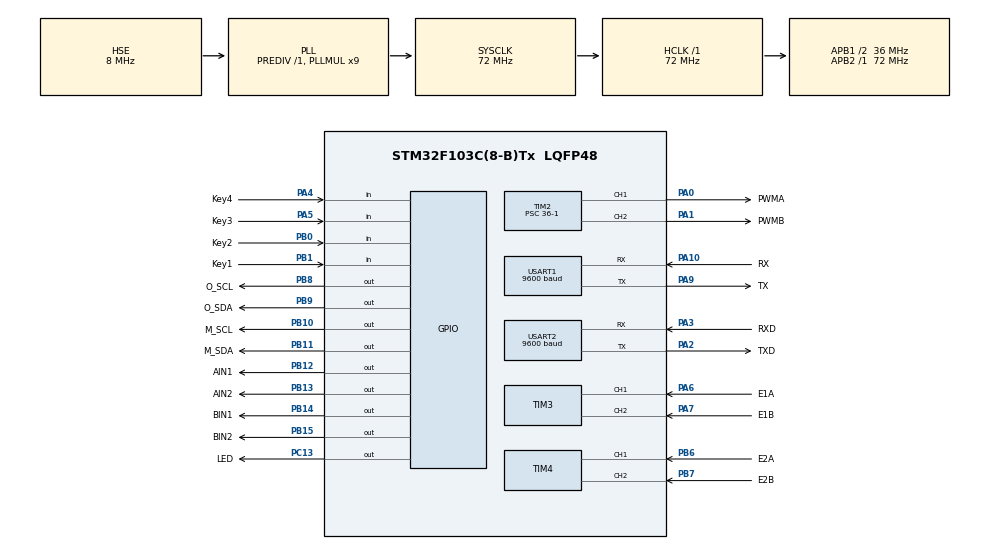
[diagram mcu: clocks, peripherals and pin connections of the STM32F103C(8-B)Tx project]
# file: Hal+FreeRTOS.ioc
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FREERTOS.Tasks01=defaultTask,24,128,StartDefaultTask,Default,NULL,Dynamic,NULL,NULL
FREERTOS.configTOTAL_HEAP_SIZE=8192
Mcu.Family=STM32F1
Mcu.Name=STM32F103C(8-B)Tx
Mcu.Package=LQFP48
NVIC.PriorityGroup=NVIC_PRIORITYGROUP_4
NVIC.TIM1_UP_IRQn=true\:5\:0\:false\:false\:true\:true\:true\:true\:true
NVIC.USART1_IRQn=true\:5\:0\:false\:false\:true\:true\:true\:true\:true
NVIC.USART2_IRQn=true\:5\:0\:false\:false\:true\:true\:true\:true\:true
PA0-WKUP.GPIO_Label=PWMA
PA0-WKUP.GPIO_ModeDefaultPP=GPIO_MODE_AF_PP
PA0-WKUP.GPIO_Speed=GPIO_SPEED_FREQ_HIGH
PA0-WKUP.Signal=S_TIM2_CH1_ETR
PA1.GPIO_Label=PWMB
PA1.GPIO_ModeDefaultPP=GPIO_MODE_AF_PP
PA1.GPIO_Speed=GPIO_SPEED_FREQ_HIGH
PA1.Signal=S_TIM2_CH2
PA10.GPIO_Label=RX
PA10.GPIO_PuPd=GPIO_PULLUP
PA10.Mode=Asynchronous
PA10.Signal=USART1_RX
PA13.Mode=Serial_Wire
PA13.Signal=SYS_JTMS-SWDIO
PA14.Mode=Serial_Wire
PA14.Signal=SYS_JTCK-SWCLK
PA2.GPIO_Label=TXD
PA2.Mode=Asynchronous
PA2.Signal=USART2_TX
PA3.GPIO_Label=RXD
PA3.GPIO_PuPd=GPIO_PULLUP
PA3.Mode=Asynchronous
PA3.Signal=USART2_RX
PA4.GPIO_Label=Key4
PA4.GPIO_Mode=GPIO_MODE_INPUT
PA4.GPIO_PuPd=GPIO_PULLUP
PA4.Signal=GPIO_Input
PA5.GPIO_Label=Key3
PA5.GPIO_Mode=GPIO_MODE_INPUT
PA5.GPIO_PuPd=GPIO_PULLUP
PA5.Signal=GPIO_Input
PA6.GPIO_Label=E1A
PA6.GPIO_PuPd=GPIO_PULLUP
PA6.Signal=S_TIM3_CH1
PA7.GPIO_Label=E1B
PA7.GPIO_PuPd=GPIO_PULLUP
PA7.Signal=S_TIM3_CH2
PA9.GPIO_Label=TX
PA9.Mode=Asynchronous
PA9.Signal=USART1_TX
PB0.GPIO_Label=Key2
PB0.GPIO_Mode=GPIO_MODE_INPUT
PB0.GPIO_PuPd=GPIO_PULLUP
PB0.Signal=GPIO_Input
PB1.GPIO_Label=Key1
PB1.GPIO_Mode=GPIO_MODE_INPUT
PB1.GPIO_PuPd=GPIO_PULLUP
PB1.Signal=GPIO_Input
PB10.GPIO_Label=M_SCL
PB10.GPIO_ModeDefaultOutputPP=GPIO_MODE_OUTPUT_OD
PB10.GPIO_PuPd=GPIO_PULLUP
PB10.PinState=GPIO_PIN_SET
PB10.Signal=GPIO_Output
PB11.GPIO_Label=M_SDA
PB11.GPIO_ModeDefaultOutputPP=GPIO_MODE_OUTPUT_OD
PB11.GPIO_PuPd=GPIO_PULLUP
PB11.PinState=GPIO_PIN_SET
PB11.Signal=GPIO_Output
PB12.GPIO_Label=AIN1
PB12.GPIO_ModeDefaultOutputPP=GPIO_MODE_OUTPUT_PP
PB12.GPIO_PuPd=GPIO_NOPULL
PB12.GPIO_Speed=GPIO_SPEED_FREQ_HIGH
PB12.PinState=GPIO_PIN_RESET
PB12.Signal=GPIO_Output
PB13.GPIO_Label=AIN2
PB13.GPIO_ModeDefaultOutputPP=GPIO_MODE_OUTPUT_PP
PB13.GPIO_PuPd=GPIO_NOPULL
PB13.GPIO_Speed=GPIO_SPEED_FREQ_HIGH
PB13.PinState=GPIO_PIN_RESET
PB13.Signal=GPIO_Output
PB14.GPIO_Label=BIN1
PB14.GPIO_ModeDefaultOutputPP=GPIO_MODE_OUTPUT_PP
PB14.GPIO_PuPd=GPIO_NOPULL
PB14.GPIO_Speed=GPIO_SPEED_FREQ_HIGH
PB14.PinState=GPIO_PIN_RESET
PB14.Signal=GPIO_Output
PB15.GPIO_Label=BIN2
PB15.GPIO_ModeDefaultOutputPP=GPIO_MODE_OUTPUT_PP
PB15.GPIO_PuPd=GPIO_NOPULL
PB15.GPIO_Speed=GPIO_SPEED_FREQ_HIGH
PB15.PinState=GPIO_PIN_RESET
PB15.Signal=GPIO_Output
PB6.GPIO_Label=E2A
PB6.GPIO_PuPd=GPIO_PULLUP
PB6.Signal=S_TIM4_CH1
PB7.GPIO_Label=E2B
PB7.GPIO_PuPd=GPIO_PULLUP
PB7.Signal=S_TIM4_CH2
PB8.GPIO_Label=O_SCL
PB8.GPIO_ModeDefaultOutputPP=GPIO_MODE_OUTPUT_OD
PB8.GPIO_PuPd=GPIO_PULLUP
PB8.PinState=GPIO_PIN_RESET
PB8.Signal=GPIO_Output
PB9.GPIO_Label=O_SDA
PB9.GPIO_ModeDefaultOutputPP=GPIO_MODE_OUTPUT_OD
PB9.GPIO_PuPd=GPIO_PULLUP
PB9.PinState=GPIO_PIN_RESET
PB9.Signal=GPIO_Output
PC13-TAMPER-RTC.GPIO_Label=LED
PC13-TAMPER-RTC.PinState=GPIO_PIN_SET
PC13-TAMPER-RTC.Signal=GPIO_Output
PD0-OSC_IN.Mode=HSE-External-Oscillator
PD0-OSC_IN.Signal=RCC_OSC_IN
PD1-OSC_OUT.Mode=HSE-External-Oscillator
PD1-OSC_OUT.Signal=RCC_OSC_OUT
ProjectManager.HeapSize=0x200
ProjectManager.StackSize=0x400
ProjectManager.TargetToolchain=CMake
RCC.AHBFreq_Value=72000000
RCC.APB1CLKDivider=RCC_HCLK_DIV2
RCC.APB1Freq_Value=36000000
RCC.APB1TimFreq_Value=72000000
RCC.APB2Freq_Value=72000000
RCC.APB2TimFreq_Value=72000000
RCC.HCLKFreq_Value=72000000
RCC.PLLMUL=RCC_PLL_MUL9
RCC.PLLSourceVirtual=RCC_PLLSOURCE_HSE
RCC.SYSCLKFreq_VALUE=72000000
RCC.SYSCLKSource=RCC_SYSCLKSOURCE_PLLCLK
RCC.USBFreq_Value=72000000
SH.S_TIM2_CH1_ETR.0=TIM2_CH1,PWM Generation1 CH1
SH.S_TIM2_CH2.0=TIM2_CH2,PWM Generation2 CH2
SH.S_TIM3_CH1.0=TIM3_CH1,Encoder_Interface
SH.S_TIM3_CH2.0=TIM3_CH2,Encoder_Interface
SH.S_TIM4_CH1.0=TIM4_CH1,Encoder_Interface
SH.S_TIM4_CH2.0=TIM4_CH2,Encoder_Interface
TIM1.Period=999
TIM1.Prescaler=71
TIM2.Channel-PWM\ Generation1\ CH1=TIM_CHANNEL_1
TIM2.Channel-PWM\ Generation2\ CH2=TIM_CHANNEL_2
TIM2.Period=100-1
TIM2.Prescaler=36-1
TIM3.EncoderMode=TIM_ENCODERMODE_TI12
TIM3.IC1Filter=15
TIM3.IC2Filter=15
TIM3.IC2Polarity=TIM_ICPOLARITY_FALLING
TIM4.EncoderMode=TIM_ENCODERMODE_TI12
TIM4.IC1Filter=15
TIM4.IC2Filter=15
TIM4.IC2Polarity=TIM_ICPOLARITY_FALLING
USART1.BaudRate=9600
USART1.VirtualMode=VM_ASYNC
USART2.BaudRate=9600
USART2.VirtualMode=VM_ASYNC
VP_FREERTOS_VS_CMSIS_V2.Mode=CMSIS_V2
VP_TIM1_VS_ClockSourceINT.Mode=Internal
VP_TIM2_VS_ClockSourceINT.Mode=Internal
board=custom

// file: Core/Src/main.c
/* USER CODE BEGIN Header */
/**
  ******************************************************************************
  * @file           : main.c
  * @brief          : Main program body
  ******************************************************************************
  * @attention
  *
  * Copyright (c) 2026 STMicroelectronics.
  * All rights reserved.
  *
  * This software is licensed under terms that can be found in the LICENSE file
  * in the root directory of this software component.
  * If no LICENSE file comes with this software, it is provided AS-IS.
  *
  ******************************************************************************
  */
/* USER CODE END Header */
#include "main.h"
#include "cmsis_os.h"
#include "tim.h"
#include "usart.h"
#include "gpio.h"

/* USER CODE BEGIN Includes */
#include "OLED.h"
#include "LED.h"
#include "Key.h"
#include "MPU6050.h"
#include "Serial.h"
#include "BlueSerial.h"
#include "Encoder.h"
#include "Motor.h"
#include "PID.h"
#include "AppState.h"      /* RunFlag / StartReq / Angle / AveSpeed / DifSpeed / GY / 三个 PID 结构体 */

#include <math.h>
#include <string.h>
#include <stdlib.h>
/* USER CODE END Includes */

/* USER CODE BEGIN PV */
/* 中断私有的临时变量：只有本文件的 TIM1 中断用，任务不碰，所以留在本地。
 * 被"中断 + 任务"共享的变量（RunFlag / StartReq / Angle / AveSpeed / DifSpeed / GY
 * 和三个 PID 结构体）已经搬到 Core/App/AppState.c 里去了。*/
int16_t AX, AY, AZ, GX, GZ;			//读取MPU6050的原始数据
uint16_t TimerCount;				//定时器计数值，此值可用于计算定时中断函数具体的执行时间

float AngleAcc;						//由加速度计得到的角度值
float AngleGyro;					//由陀螺仪得到的角度值，执行互补滤波后，此值基本与Angle相等

int16_t LeftPWM, RightPWM;			//左PWM，右PWM
int16_t AvePWM, DifPWM;				//平均PWM，差分PWM

float LeftSpeed, RightSpeed;		//左速度，右速度

/* USER CODE END PV */

void SystemClock_Config(void);
void MX_FREERTOS_Init(void);

int main(void)
{

  /* MCU Configuration--------------------------------------------------------*/

  /* Reset of all peripherals, Initializes the Flash interface and the Systick. */
  HAL_Init();

  /* Configure the system clock */
  SystemClock_Config();

  /* Initialize all configured peripherals */
  MX_GPIO_Init();
  MX_TIM1_Init();
  MX_TIM2_Init();
  MX_TIM3_Init();
  MX_TIM4_Init();
  MX_USART2_UART_Init();
  MX_USART1_UART_Init();
  /* USER CODE BEGIN 2 */
  OLED_Init();
  HAL_TIM_Base_Start_IT(&htim1);							// 启动TIM1并使能更新中断
  HAL_TIM_PWM_Start(&htim2, TIM_CHANNEL_1);          // 启动左电机PWM
  HAL_TIM_PWM_Start(&htim2, TIM_CHANNEL_2);          // 启动右电机PWM
  HAL_TIM_Encoder_Start(&htim3, TIM_CHANNEL_ALL);    // 启动左编码器
  HAL_TIM_Encoder_Start(&htim4, TIM_CHANNEL_ALL);    // 启动右编码器
  UART1_Receive_Start();									// 启动UART1并使能接收中断
  UART2_Receive_Start();									 // 启动UART2并使能接收中断
  MPU6050_Init();											// MPU6050初始化

  /* USER CODE END 2 */

  /* Init scheduler */
  osKernelInitialize();  /* Call init function for freertos objects (in cmsis_os2.c) */
  MX_FREERTOS_Init();

  /* Start scheduler */
  osKernelStart();

  /* We should never get here as control is now taken by the scheduler */

  /* Infinite loop */
  /* USER CODE BEGIN WHILE */
  /* 应用逻辑（LED/按键/OLED/蓝牙解析）已搬进 FreeRTOS 任务，见 app_tasks.c；
   * PID 控制环仍留在 TIM1 中断里，硬实时的东西不受调度器影响 */
    /* USER CODE END WHILE */

}

void SystemClock_Config(void)
{
  RCC_OscInitTypeDef RCC_OscInitStruct = {0};
  RCC_ClkInitTypeDef RCC_ClkInitStruct = {0};

  /** Initializes the RCC Oscillators according to the specified parameters
  * in the RCC_OscInitTypeDef structure.
  */
  RCC_OscInitStruct.OscillatorType = RCC_OSCILLATORTYPE_HSE;
  RCC_OscInitStruct.HSEState = RCC_HSE_ON;
  RCC_OscInitStruct.HSEPredivValue = RCC_HSE_PREDIV_DIV1;
  RCC_OscInitStruct.HSIState = RCC_HSI_ON;
  RCC_OscInitStruct.PLL.PLLState = RCC_PLL_ON;
  RCC_OscInitStruct.PLL.PLLSource = RCC_PLLSOURCE_HSE;
  RCC_OscInitStruct.PLL.PLLMUL = RCC_PLL_MUL9;
  if (HAL_RCC_OscConfig(&RCC_OscInitStruct) != HAL_OK)
  {
    Error_Handler();
  }

  /** Initializes the CPU, AHB and APB buses clocks
  */
  RCC_ClkInitStruct.ClockType = RCC_CLOCKTYPE_HCLK|RCC_CLOCKTYPE_SYSCLK
                              |RCC_CLOCKTYPE_PCLK1|RCC_CLOCKTYPE_PCLK2;
  RCC_ClkInitStruct.SYSCLKSource = RCC_SYSCLKSOURCE_PLLCLK;
  RCC_ClkInitStruct.AHBCLKDivider = RCC_SYSCLK_DIV1;
  RCC_ClkInitStruct.APB1CLKDivider = RCC_HCLK_DIV2;
  RCC_ClkInitStruct.APB2CLKDivider = RCC_HCLK_DIV1;

  if (HAL_RCC_ClockConfig(&RCC_ClkInitStruct, FLASH_LATENCY_2) != HAL_OK)
  {
    Error_Handler();
  }
}

/* USER CODE BEGIN 4 */

/*
 *回调函数：里面写入中断处理的代码，不需要清理标志位，Hal库会自动清理
 *htim：定时器句柄
 */
void HAL_TIM_PeriodElapsedCallback(TIM_HandleTypeDef *htim)
{
  if (htim->Instance == TIM1)   // 选择TIM1
  {
    static uint16_t Count0, Count1;
    int16_t GYraw;			//MPU6050原始值的临时接收变量。GY是volatile的，不能把它的地址交给库函数（会丢掉volatile限定符）
    Key_Tick();
  	/*计次分频*/
  	Count0 ++;				//计次自增
  	if (Count0 >= 10)		//如果计次10次，则if成立，即if每隔10ms进一次
  	{
  		Count0 = 0;			//计次清零，便于下次计次

  		/*启动请求：keyTask 置 StartReq，真正的 PID_Init 在这里做。
  		 *原因：PID_Init 一次清零 15 个字段，和中断并发会读到半新半旧的参数；
  		 *而任务侧又不能加临界区（TIM1 优先级 5 会被一起屏蔽）。中断里本来就没有并发。*/
  		if (StartReq)
  		{
  			PID_Init(&AnglePID);
  			PID_Init(&SpeedPID);
  			PID_Init(&TurnPID);
  			RunFlag = 1;
  			StartReq = 0;
  		}

  		/*应用请求：keyTask 在 K2 按下时置 ApplyReq，把蓝牙暂存区整体提交给实时 PID。
  		 *和 StartReq 同样的道理 —— 一次改 15 个字段，放在中断里做就没有并发。*/
  		if (ApplyReq)
  		{
  			AnglePID = AnglePID_Stage;
  			SpeedPID = SpeedPID_Stage;
  			TurnPID  = TurnPID_Stage;
  			ApplyReq = 0;
  		}

  		/*在中断里读取MPU6050，可以保证读取间隔严格为1ms*/
  		/*但要保证MPU6050_GetData执行时间不超过1ms*/
  		MPU6050_GetData(&AX, &AY, &AZ, &GX, &GYraw, &GZ);

  		/*校准陀螺仪Y轴零漂*/
  		/*此值需实测确定，不同的设备零漂一般不同*/
  		/*实测方法是，在完全静止时，观察OLED显示的GY值，即为零漂值*/
  		/*然后在此处将零漂值减去，使得完全静止时，GY值为0*/
  		GY = GYraw - 16;	//原始值减零漂后写入volatile变量（一次写完，displayTask不会读到写了一半的值）

  		/*由加速度计计算得到角度值*/
  		/*atan2计算反正切，得到角度（弧度制）， / 3.14159 * 180可将弧度制转为角度值*/
  		AngleAcc = -atan2(AX, AZ) / 3.14159 * 180;

  		/*校准中心角度*/
  		/*此值需实测确定，不同的设备中心角度一般不同*/
  		/*实测方法是，使平衡车绝对竖直，观察OLED显示的角度环实际值，即为中心角度偏移值*/
  		/*然后在此处将偏移值减去，使得绝对竖直时，角度环实际值为0*/
  		AngleAcc += 0.5;

  		/*由陀螺仪积分得到角度值*/
  		/*互补滤波下，角度积分要在上次滤波后的Angle上进行*/
  		/*公式中32768是int16_t变量的最大值，2000是陀螺仪配置的满量程2000度每秒，0.01是间隔时间10ms*/
  		AngleGyro = Angle + GY / 32768.0 * 2000 * 0.01;

  		/*执行互补滤波*/
  		float Alpha = 0.01;		//互补滤波系数，值越大，越偏向于加速度计，值越小，越偏向于陀螺仪
  		Angle = Alpha * AngleAcc + (1 - Alpha) * AngleGyro;		//互补滤波计算，得到稳定的角度值

  		/*平衡车倒地后自动停止PID程序*/
  		if (Angle > 50 || Angle < -50)	//角度超过-50度~50度的范围，认为平衡车倒地了
  		{
  			RunFlag = 0;				//RunFlag置0，停止PID程序
  		}

  		/*执行PID调控程序*/
  		if (RunFlag)					//RunFlag非0时，启动PID程序
  		{
  			/*角度环PID控制*/
  			AnglePID.Actual = Angle;	//角度环实际值为Angle
  			PID_Update(&AnglePID);		//调用封装好的函数，一步完成PID计算和更新
  			AvePWM = -AnglePID.Out;		//角度环的输出值给到电机平均PWM，用于控制前后行进

  			/*控制量转换*/
  			LeftPWM = AvePWM + DifPWM / 2;		//由平均PWM和差分PWM计算得到左轮PWM
  			RightPWM = AvePWM - DifPWM / 2;		//由平均PWM和差分PWM计算得到右轮PWM

  			/*PWM限幅*/
  			/*上式计算后，LeftPWM和RightPWM可能会超出电机允许的PWM范围，此处将PWM值范围限制在-100~100之内*/
  			if (LeftPWM > 100)
  			{
  				LeftPWM = 100;
  			}
  			else if(LeftPWM < -100)
  			{
  				LeftPWM = -100;
  			}
  			if (RightPWM > 100)
  			{
  				RightPWM = 100;
  			}
  			else if (RightPWM < -100)
  			{
  				RightPWM = -100;
  			}

  			/*PWM输出给电机*/
  			Motor_SetPWM(1, LeftPWM);		//LeftPWM输出给左轮电机
  			Motor_SetPWM(2, RightPWM);		//RightPWM输出给右轮电机
  		}
  		else		//RunFlag为0时，停止PID程序
  		{
  			/*左右电机PWM均设置为0*/
  			Motor_SetPWM(1, 0);
  			Motor_SetPWM(2, 0);
  		}
  	}
  	/*计次分频*/
    Count1 ++;
    if (Count1 >= 50)		//如果计次50次，则if成立，即if每隔50ms进一次
    {
      Count1 = 0;			//计次清零，便于下次计次

      /*获取编码器的计次值增量，并计算电机旋转速度*/
      /*Encoder_Get函数，可以获取两次读取编码器的计次值增量*/
      /*编码器磁铁旋转一圈，计次增量为44，编码器读取间隔是50ms（0.05s）*/
      /*因此磁铁旋转速度 = 计次增量 / 44 / 0.05，单位是转每秒*/
      /*平衡车使用的电机带有减速箱，减速比为9.27666*/
      /*因此电机输出轴旋转速度 = 磁铁旋转速度 / 9.27666，单位是转每秒*/
      /*左轮编码器方向与右轮相反(实测两轮同向前进时L为负、R为正)，故取负对齐*/
      LeftSpeed = -Encoder_Get(1) / 44.0 / 0.05 / 9.27666;
      RightSpeed = Encoder_Get(2) / 44.0 / 0.05 / 9.27666;
      /*信号量转换*/
      AveSpeed = (LeftSpeed + RightSpeed) / 2.0;	//由左轮速度和右轮速度计算得到平均速度
      DifSpeed = LeftSpeed - RightSpeed;			//由左轮速度和右轮速度计算得到差分速度
    	// DifSpeed = 0;
      /*执行PID调控程序*/
      if (RunFlag)					//RunFlag非0时，启动PID程序
      {
        /*速度环PID控制*/
        SpeedPID.Actual = AveSpeed;			//速度环实际值为AveSpeed
        PID_Update(&SpeedPID);				//调用封装好的函数，一步完成PID计算和更新
        AnglePID.Target = SpeedPID.Out;		//速度环的输出值给到角度环的目标值，构成串级PID

        /*转向环PID控制*/
        TurnPID.Actual = DifSpeed;			//转向环实际值为DifSpeed
        PID_Update(&TurnPID);				//调用封装好的函数，一步完成PID计算和更新
        DifPWM = TurnPID.Out;				//转向环的输出值给到电机差分PWM，用于控制左右转弯
      }
    }
  }
  TimerCount = __HAL_TIM_GET_COUNTER(&htim1); // 中断函数退出前，读取计数器的值，此值可用于测量中断函数的具体执行时间
}
/* USER CODE END 4 */

void Error_Handler(void)
{
  __disable_irq();
  while (1)
  {
  }
}

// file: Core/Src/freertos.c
/* USER CODE BEGIN Header */
/**
  ******************************************************************************
  * File Name          : freertos.c
  * Description        : Code for freertos applications
  ******************************************************************************
  * @attention
  *
  * Copyright (c) 2026 STMicroelectronics.
  * All rights reserved.
  *
  * This software is licensed under terms that can be found in the LICENSE file
  * in the root directory of this software component.
  * If no LICENSE file comes with this software, it is provided AS-IS.
  *
  ******************************************************************************
  */
/* USER CODE END Header */

#include "FreeRTOS.h"
#include "task.h"
#include "main.h"
#include "cmsis_os.h"

/* USER CODE BEGIN Includes */
#include "app_tasks.h"
/* USER CODE END Includes */

/* Definitions for defaultTask */
osThreadId_t defaultTaskHandle;
const osThreadAttr_t defaultTask_attributes = {
  .name = "defaultTask",
  .stack_size = 128 * 4,
  .priority = (osPriority_t) osPriorityNormal,
};

void StartDefaultTask(void *argument);

void MX_FREERTOS_Init(void); /* (MISRA C 2004 rule 8.1) */

void MX_FREERTOS_Init(void) {

  /* Create the thread(s) */
  /* creation of defaultTask */
  defaultTaskHandle = osThreadNew(StartDefaultTask, NULL, &defaultTask_attributes);

  /* USER CODE BEGIN RTOS_THREADS */
  /* 建蓝牙队列 + 按键/通信/显示三个任务，实现见 app_tasks.c */
  App_TasksCreate();
  /* USER CODE END RTOS_THREADS */

}

void StartDefaultTask(void *argument)
{
  for(;;)
  {
    osDelay(1);
  }
}
